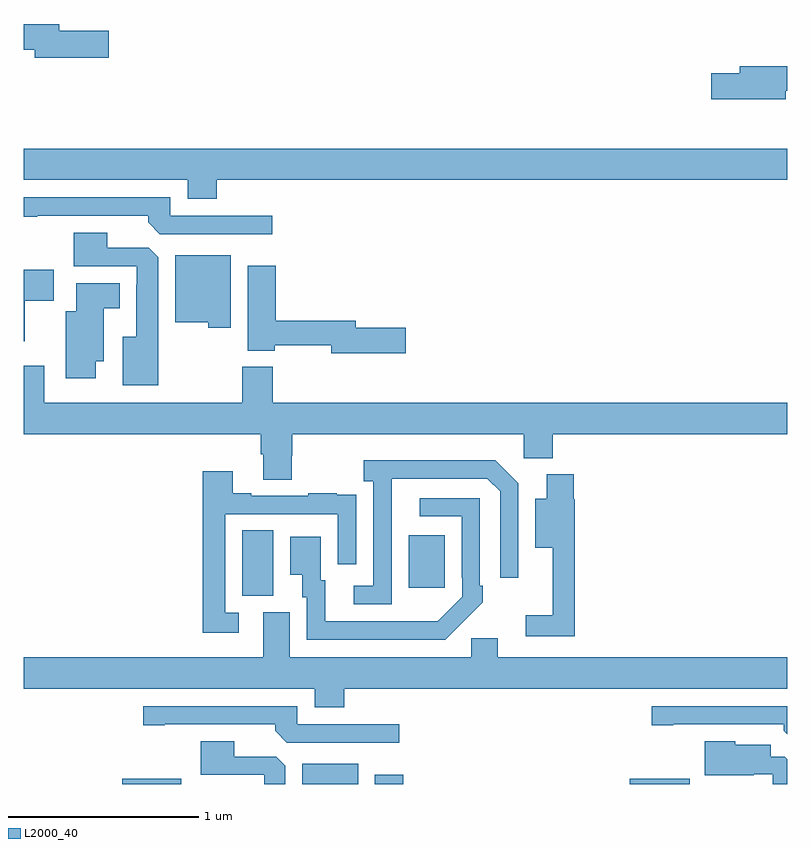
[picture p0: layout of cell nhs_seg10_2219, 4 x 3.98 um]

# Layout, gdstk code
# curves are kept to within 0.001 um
import gdstk
lib = gdstk.Library(unit=1e-6, precision=1e-09)
def R(c, l, rs):  # rectangles x0, y0, x1, y1
    for r in rs: c.add(gdstk.rectangle(r[:2], r[2:], *l))
def P(c, l, *ps):  # polygons
    for p in ps: c.add(gdstk.Polygon(p, *l))
L2000_40 = (2000, 40)

nhs_seg10_2219 = lib.new_cell('nhs_seg10_2219')
R(nhs_seg10_2219, L2000_40, [(229.517,1282.5,229.825,1282.528), (230.459,1282.5,230.752,1282.606), (230.84,1282.5,230.987,1282.549), (232.174,1282.5,232.489,1282.528), (230.144,1283.485,230.308,1283.828), (231.017,1283.529,231.205,1283.803)])
P(nhs_seg10_2219, L2000_40, [(229.447,1286.444),(229.186,1286.444),(229.186,1286.48),(229,1286.48),(229,1286.344),(229.058,1286.344),(229.058,1286.302),(229.447,1286.302)],
  [(232.99,1286.13),(233,1286.13),(233,1286.258),(232.751,1286.258),(232.751,1286.222),(232.602,1286.222),(232.602,1286.087),(232.99,1286.087)],
  [(230.012,1285.664),(233,1285.664),(233,1285.828),(229,1285.828),(229,1285.664),(229.859,1285.664),(229.859,1285.565),(230.012,1285.565)],
  [(230.302,1285.476),(229.767,1285.476),(229.767,1285.572),(229,1285.572),(229,1285.471),(229.072,1285.471),(229.072,1285.476),(229.652,1285.476),(229.652,1285.442),(229.713,1285.38),(230.302,1285.38)],
  [(229.705,1285.259),(229.656,1285.308),(229.438,1285.308),(229.438,1285.387),(229.262,1285.387),(229.262,1285.212),(229.593,1285.212),(229.593,1285.115),(229.589,1285.115),(229.589,1284.841),(229.52,1284.841),(229.52,1284.587),(229.705,1284.587)],
  [(230.086,1285.27),(229.793,1285.27),(229.793,1284.917),(229.968,1284.917),(229.968,1284.89),(230.086,1284.89)],
  [(231.001,1284.89),(230.74,1284.89),(230.74,1284.926),(230.321,1284.926),(230.321,1285.213),(230.174,1285.213),(230.174,1284.77),(230.316,1284.77),(230.316,1284.798),(230.612,1284.798),(230.612,1284.755),(231.001,1284.755)],
  [(229.006,1285.03),(229.159,1285.03),(229.159,1285.192),(229,1285.192),(229,1284.819),(229.006,1284.819)],
  [(229.378,1284.713),(229.42,1284.713),(229.42,1284.992),(229.504,1284.992),(229.504,1285.123),(229.277,1285.123),(229.277,1284.976),(229.22,1284.976),(229.22,1284.624),(229.378,1284.624)],
  [(230.403,1284.219),(230.408,1284.219),(230.408,1284.332),(231.618,1284.332),(231.618,1284.206),(231.77,1284.206),(231.77,1284.332),(233,1284.332),(233,1284.496),(230.306,1284.496),(230.306,1284.685),(230.146,1284.685),(230.146,1284.496),(229.108,1284.496),(229.108,1284.691),(229,1284.691),(229,1284.332),(230.243,1284.332),(230.243,1284.226),(230.255,1284.226),(230.255,1284.094),(230.403,1284.094)],
  [(230.928,1283.899),(230.929,1284.099),(231.429,1284.099),(231.495,1284.033),(231.495,1283.58),(231.591,1283.58),(231.591,1284.075),(231.47,1284.196),(230.781,1284.196),(230.781,1284.086),(230.832,1284.086),(230.832,1283.538),(230.73,1283.538),(230.73,1283.442),(230.928,1283.442)],
  [(230.128,1283.397),(230.055,1283.397),(230.055,1283.913),(230.646,1283.913),(230.646,1283.652),(230.742,1283.652),(230.742,1283.906),(230.741,1283.906),(230.741,1284.015),(230.639,1284.015),(230.639,1284.022),(230.491,1284.022),(230.491,1284.009),(230.191,1284.009),(230.191,1284.022),(230.095,1284.022),(230.095,1284.139),(229.939,1284.139),(229.939,1283.292),(230.128,1283.292)],
  [(231.887,1283.991),(231.881,1283.991),(231.881,1284.121),(231.74,1284.121),(231.74,1283.995),(231.68,1283.995),(231.68,1283.738),(231.77,1283.738),(231.77,1283.383),(231.63,1283.383),(231.63,1283.274),(231.887,1283.274)],
  [(231.299,1283.347),(231.3,1283.346),(231.405,1283.451),(231.405,1283.539),(231.39,1283.539),(231.39,1283.997),(231.075,1283.997),(231.075,1283.901),(231.294,1283.901),(231.294,1283.581),(231.297,1283.581),(231.297,1283.481),(231.169,1283.353),(230.581,1283.352),(230.581,1283.568),(230.557,1283.568),(230.557,1283.794),(230.396,1283.794),(230.396,1283.597),(230.459,1283.597),(230.459,1283.478),(230.484,1283.478),(230.484,1283.256),(231.208,1283.256)],
  [(230.678,1283),(233,1283),(233,1283.164),(231.484,1283.164),(231.484,1283.262),(231.345,1283.262),(231.345,1283.164),(230.395,1283.164),(230.395,1283.4),(230.255,1283.4),(230.255,1283.164),(229,1283.164),(229,1283),(230.525,1283),(230.525,1282.901),(230.678,1282.901)],
  [(233,1282.908),(232.29,1282.908),(232.29,1282.807),(232.402,1282.807),(232.402,1282.812),(232.982,1282.812),(232.982,1282.778),(233,1282.76)],
  [(230.968,1282.812),(230.433,1282.812),(230.433,1282.908),(229.626,1282.908),(229.626,1282.807),(229.738,1282.807),(229.738,1282.812),(230.318,1282.812),(230.318,1282.778),(230.379,1282.716),(230.968,1282.716)],
  [(230.371,1282.595),(230.322,1282.644),(230.104,1282.644),(230.104,1282.723),(229.928,1282.723),(229.928,1282.548),(230.259,1282.548),(230.259,1282.5),(230.371,1282.5)],
  [(233,1282.63),(232.986,1282.644),(232.912,1282.644),(232.912,1282.705),(232.728,1282.705),(232.728,1282.723),(232.568,1282.723),(232.568,1282.547),(232.823,1282.547),(232.823,1282.551),(232.923,1282.551),(232.923,1282.5),(233,1282.5)])

lib.write_gds('nhs_seg10_2219.gds')
